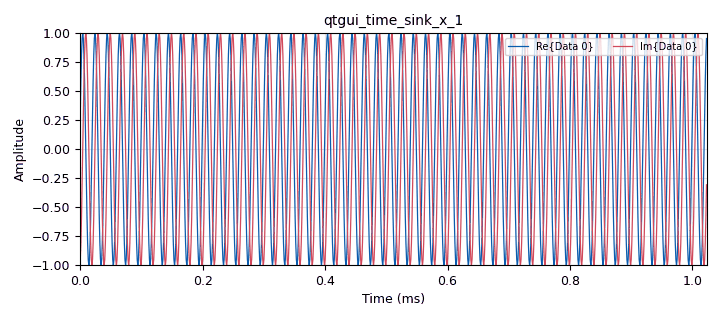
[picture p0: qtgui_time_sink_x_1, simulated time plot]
options:
  parameters:
    author: jason
    comment: |-
      https://www.youtube.com/watch?v=ODU-PvH1_Hg
      https://github.com/gallicchio/learnSDR/blob/main/lesson08a_plutoTXRX.grc
    generate_options: qt_gui
    id: lesson08a_pluto2pluto
    output_language: python
    title: lesson08a_plutopluto
  states: {}

blocks:
- name: freq
  id: variable_qtgui_range
  parameters:
    start: '-100e3'
    step: '1'
    stop: 100e3
    value: 50e3
  states: {}
- name: rx_gain
  id: variable_qtgui_range
  parameters:
    start: '0'
    step: '1'
    stop: '70'
    value: '64'
  states: {}
- name: samp_rate
  id: variable
  parameters:
    value: 1e6
  states: {}
- name: tx_attenuation
  id: variable_qtgui_range
  parameters:
    start: '0'
    step: '1'
    stop: '80'
    value: '20'
  states: {}
- name: analog_sig_source_x_0
  id: analog_sig_source_x
  parameters:
    amp: '1'
    freq: freq
    offset: '0'
    phase: '0'
    samp_rate: samp_rate
    type: complex
    waveform: analog.GR_COS_WAVE
  states: {}
- name: iio_pluto_sink_0
  id: iio_pluto_sink
  parameters:
    attenuation1: tx_attenuation
    bandwidth: '20000000'
    buffer_size: '32768'
    cyclic: 'False'
    filter_source: '''Auto'''
    frequency: '2400000000'
    samplerate: '2084000'
    type: fc32
    uri: 192.168.2.1
  states: {}
- name: iio_pluto_source_0
  id: iio_pluto_source
  parameters:
    bandwidth: '20000000'
    bbdc: 'True'
    buffer_size: '32768'
    filter_source: '''Auto'''
    frequency: '2400000000'
    gain1: '''manual'''
    manual_gain1: rx_gain
    quadrature: 'True'
    rfdc: 'True'
    samplerate: '2084000'
    type: fc32
    uri: 192.168.2.1
  states: {}
- name: qtgui_freq_sink_x_0
  id: qtgui_freq_sink_x
  parameters:
    bw: samp_rate
    fc: '0'
    fftsize: '1024'
    type: complex
  states: {}
- name: qtgui_time_sink_x_0
  id: qtgui_time_sink_x
  parameters:
    size: '1024'
    srate: samp_rate
    type: complex
  states: {}
- name: qtgui_time_sink_x_1
  id: qtgui_time_sink_x
  parameters:
    size: '1024'
    srate: samp_rate
    type: complex
  states: {}

connections:
- [analog_sig_source_x_0, '0', iio_pluto_sink_0, '0']
- [analog_sig_source_x_0, '0', qtgui_time_sink_x_1, '0']
- [iio_pluto_source_0, '0', qtgui_freq_sink_x_0, '0']
- [iio_pluto_source_0, '0', qtgui_time_sink_x_0, '0']

metadata:
  file_format: 1
  grc_version: 3.10.9.2
